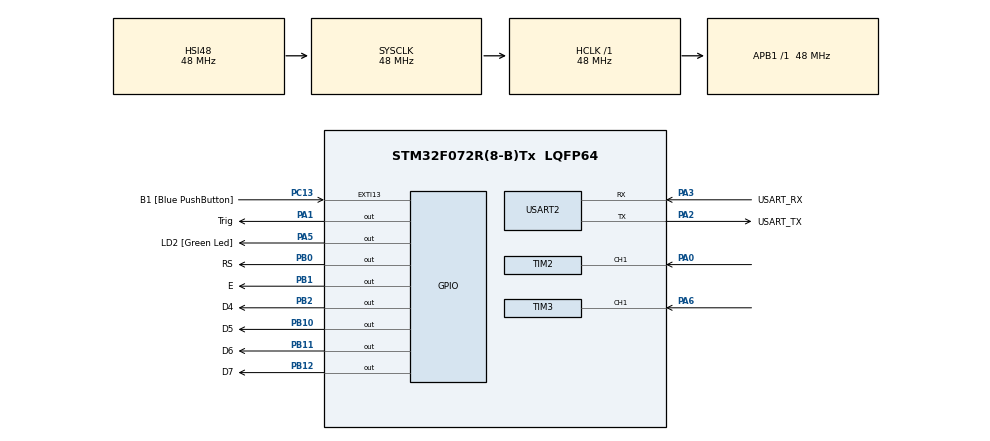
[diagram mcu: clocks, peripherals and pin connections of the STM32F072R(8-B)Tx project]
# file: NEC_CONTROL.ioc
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Mcu.Family=STM32F0
Mcu.Name=STM32F072R(8-B)Tx
Mcu.Package=LQFP64
NVIC.TIM2_IRQn=true\:0\:0\:true\:false\:true\:true\:true\:true
NVIC.TIM3_IRQn=true\:1\:0\:true\:false\:true\:true\:true\:true
NVIC.TIM6_DAC_IRQn=true\:2\:0\:true\:false\:true\:true\:false\:true
PA0.Signal=S_TIM2_CH1_ETR
PA1.GPIO_Label=Trig
PA1.Signal=GPIO_Output
PA13.GPIO_Label=TMS
PA13.Mode=Serial_Wire
PA13.Signal=SYS_SWDIO
PA14.GPIO_Label=TCK
PA14.Mode=Serial_Wire
PA14.Signal=SYS_SWCLK
PA2.GPIO_Label=USART_TX
PA2.GPIO_Mode=GPIO_MODE_AF_PP
PA2.GPIO_PuPd=GPIO_NOPULL
PA2.GPIO_Speed=GPIO_SPEED_FREQ_LOW
PA2.Mode=Asynchronous
PA2.Signal=USART2_TX
PA3.GPIO_Label=USART_RX
PA3.GPIO_Mode=GPIO_MODE_AF_PP
PA3.GPIO_PuPd=GPIO_NOPULL
PA3.GPIO_Speed=GPIO_SPEED_FREQ_LOW
PA3.Mode=Asynchronous
PA3.Signal=USART2_RX
PA5.GPIO_Label=LD2 [Green Led]
PA5.GPIO_Mode=GPIO_MODE_OUTPUT_PP
PA5.GPIO_PuPd=GPIO_NOPULL
PA5.GPIO_Speed=GPIO_SPEED_FREQ_LOW
PA5.Signal=GPIO_Output
PA6.Signal=S_TIM3_CH1
PB0.GPIO_Label=RS
PB0.Signal=GPIO_Output
PB1.GPIO_Label=E
PB1.Signal=GPIO_Output
PB10.GPIO_Label=D5
PB10.Signal=GPIO_Output
PB11.GPIO_Label=D6
PB11.Signal=GPIO_Output
PB12.GPIO_Label=D7
PB12.Signal=GPIO_Output
PB2.GPIO_Label=D4
PB2.Signal=GPIO_Output
PC13.GPIO_Label=B1 [Blue PushButton]
PC13.GPIO_ModeDefaultEXTI=GPIO_MODE_IT_FALLING
PC13.Signal=GPXTI13
PC14-OSC32_IN.Mode=LSE-External-Oscillator
PC14-OSC32_IN.Signal=RCC_OSC32_IN
PC15-OSC32_OUT.Mode=LSE-External-Oscillator
PC15-OSC32_OUT.Signal=RCC_OSC32_OUT
PF0-OSC_IN.Mode=HSE-External-Clock-Source
PF0-OSC_IN.Signal=RCC_OSC_IN
PF1-OSC_OUT.Signal=RCC_OSC_OUT
ProjectManager.HeapSize=0x200
ProjectManager.StackSize=0x400
ProjectManager.TargetToolchain=MDK-ARM V5.32
RCC.AHBFreq_Value=48000000
RCC.APB1Freq_Value=48000000
RCC.APB1TimFreq_Value=48000000
RCC.FLatency-AdvancedSettings=FLASH_LATENCY_1
RCC.HCLKFreq_Value=48000000
RCC.PLLDivider=RCC_PREDIV_DIV2
RCC.PLLMUL=RCC_PLL_MUL12
RCC.PREFETCH_ENABLE-AdvancedSettings=1
RCC.SYSCLKFreq_VALUE=48000000
RCC.SYSCLKSource=RCC_SYSCLKSOURCE_HSI48
SH.S_TIM2_CH1_ETR.0=TIM2_CH1,Input_Capture1_from_TI1
SH.S_TIM3_CH1.0=TIM3_CH1,Input_Capture1_from_TI1
TIM2.AutoReloadPreload=TIM_AUTORELOAD_PRELOAD_ENABLE
TIM2.Channel-Input_Capture1_from_TI1=TIM_CHANNEL_1
TIM2.ICFilter_CH1=4
TIM2.ICPolarity_CH1=TIM_INPUTCHANNELPOLARITY_FALLING
TIM2.Period=65535
TIM2.Prescaler=48-1
TIM3.AutoReloadPreload=TIM_AUTORELOAD_PRELOAD_ENABLE
TIM3.Channel-Input_Capture1_from_TI1=TIM_CHANNEL_1
TIM3.ICFilter_CH1=8
TIM3.ICPolarity_CH1=TIM_INPUTCHANNELPOLARITY_BOTHEDGE
TIM3.Prescaler=48-1
TIM6.AutoReloadPreload=TIM_AUTORELOAD_PRELOAD_ENABLE
TIM6.Prescaler=48-1
USART2.VirtualMode=VM_ASYNC
USART2.VirtualMode-Asynchronous=VM_ASYNC
VP_TIM2_VS_ClockSourceINT.Mode=Internal
VP_TIM3_VS_ClockSourceINT.Mode=Internal
VP_TIM6_VS_ClockSourceINT.Mode=Enable_Timer
board=NUCLEO-F072RB

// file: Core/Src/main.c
/* USER CODE BEGIN Header */
/**
  ******************************************************************************
  * @file           : main.c
  * @brief          : Main program body
  ******************************************************************************
  * @attention
  *
  * Copyright (c) 2026 STMicroelectronics.
  * All rights reserved.
  *
  * This software is licensed under terms that can be found in the LICENSE file
  * in the root directory of this software component.
  * If no LICENSE file comes with this software, it is provided AS-IS.
  *
  ******************************************************************************
  */
/* USER CODE END Header */
#include "main.h"

/* USER CODE BEGIN Includes */
#include <stdio.h>
#include <stdlib.h>
#include <string.h>
#include "lcm_control.h"
#include "timer_control.h"
/* USER CODE END Includes */

TIM_HandleTypeDef htim2;
TIM_HandleTypeDef htim3;
TIM_HandleTypeDef htim6;

UART_HandleTypeDef huart2;

/* USER CODE BEGIN PV */
typedef enum {
    IR_WAIT_LEADER = 0,
    IR_WAIT_DATA
} IR_State_t;

volatile uint32_t diff_time = 0;
volatile uint32_t last_capture = 0;
volatile uint32_t ir_data = 0;
volatile uint8_t  bit_count = 0;
volatile IR_State_t ir_state = IR_WAIT_LEADER;

volatile uint8_t  ir_ready = 0;
volatile uint32_t ir_code = 0;

volatile uint8_t    sr04_is_first_edge = 1;
volatile uint32_t   sr04_rise_time = 0;
volatile uint32_t   sr04_fall_time = 0;
volatile uint32_t   sr04_echo_duration = 0;
volatile uint8_t    sr04_distance_ready = 0;
float distance_cm = 0.0f;
/* USER CODE END PV */

void SystemClock_Config(void);
static void MX_GPIO_Init(void);
static void MX_TIM2_Init(void);
static void MX_USART2_UART_Init(void);
static void MX_TIM3_Init(void);
static void MX_TIM6_Init(void);
/* USER CODE BEGIN PFP */
char IR_To_Char(uint8_t cmd);
/* USER CODE END PFP */

int main(void)
{

  /* MCU Configuration--------------------------------------------------------*/

  /* Reset of all peripherals, Initializes the Flash interface and the Systick. */
  HAL_Init();

  /* Configure the system clock */
  SystemClock_Config();

  /* Initialize all configured peripherals */
  MX_GPIO_Init();
  MX_TIM2_Init();
  MX_USART2_UART_Init();
  MX_TIM3_Init();
  MX_TIM6_Init();
  /* USER CODE BEGIN 2 */
	LCM_Init();

	LCM_Set_Cursor(0, 0);
	LCM_Send_String("Dist: -");
	LCM_Set_Cursor(1, 0);
	LCM_Send_String("IR Key: -");

	HAL_TIM_IC_Start_IT(&htim2, TIM_CHANNEL_1);
	HAL_TIM_IC_Start_IT(&htim3, TIM_CHANNEL_1);
  /* USER CODE END 2 */

  /* Infinite loop */
  /* USER CODE BEGIN WHILE */
  while (1)
  {
		if (ir_ready)
    {
				ir_ready = 0;
        uint8_t address  = ir_code & 0xFF;
        uint8_t n_address = (ir_code >> 8) & 0xFF;
        uint8_t command  = (ir_code >> 16) & 0xFF;
        uint8_t n_command = (ir_code >> 24) & 0xFF;

        if (address == 0x00 && ((uint8_t)(address ^ n_address) == 0xFF))
        {
					char ch = IR_To_Char(command);
					//printf("Raw Cmd: 0x%02X\r\n Char: %c\r\n", command, ch);

          LCM_Set_Cursor(1, 8);
					switch(ch){
						case 'K':
							LCM_Send_String("OK   ");
							break;
						case 'U':
							LCM_Send_String("UP   ");
							break;
						case 'D':
							LCM_Send_String("DOWN ");
							break;
						case 'L':
							LCM_Send_String("LEFT ");
							break;
						case 'R':
							LCM_Send_String("RIGHT");
							break;
						default:
							LCM_Send_Data(ch);
							LCM_Send_String("    ");
							break;
					}
				}
    }
    /* USER CODE END WHILE */

    /* USER CODE BEGIN 3 */
		static uint32_t last_trigger_tick = 0;
		if (HAL_GetTick() - last_trigger_tick > 60)
		{
				last_trigger_tick = HAL_GetTick();

				HAL_GPIO_WritePin(GPIOA, GPIO_PIN_1, GPIO_PIN_SET);
				delay_us(10);
				HAL_GPIO_WritePin(GPIOA, GPIO_PIN_1, GPIO_PIN_RESET);
		}

		if (sr04_distance_ready)
		{
				sr04_distance_ready = 0;
				distance_cm = (float)sr04_echo_duration / 58.2f;
				//printf("Distance: %3.2f cm\r\n", distance_cm);
				char *result = (char *)malloc(9 * sizeof(char));
				if (result != NULL) {
					LCM_Set_Cursor(0, 6);
					snprintf(result, 9, "%3.2f cm", distance_cm);
					LCM_Send_String(result);
				}
		}
  }
  /* USER CODE END 3 */
}

void SystemClock_Config(void)
{
  RCC_OscInitTypeDef RCC_OscInitStruct = {0};
  RCC_ClkInitTypeDef RCC_ClkInitStruct = {0};
  RCC_PeriphCLKInitTypeDef PeriphClkInit = {0};

  /** Initializes the RCC Oscillators according to the specified parameters
  * in the RCC_OscInitTypeDef structure.
  */
  RCC_OscInitStruct.OscillatorType = RCC_OSCILLATORTYPE_HSI48;
  RCC_OscInitStruct.HSI48State = RCC_HSI48_ON;
  RCC_OscInitStruct.PLL.PLLState = RCC_PLL_NONE;
  if (HAL_RCC_OscConfig(&RCC_OscInitStruct) != HAL_OK)
  {
    Error_Handler();
  }

  /** Initializes the CPU, AHB and APB buses clocks
  */
  RCC_ClkInitStruct.ClockType = RCC_CLOCKTYPE_HCLK|RCC_CLOCKTYPE_SYSCLK
                              |RCC_CLOCKTYPE_PCLK1;
  RCC_ClkInitStruct.SYSCLKSource = RCC_SYSCLKSOURCE_HSI48;
  RCC_ClkInitStruct.AHBCLKDivider = RCC_SYSCLK_DIV1;
  RCC_ClkInitStruct.APB1CLKDivider = RCC_HCLK_DIV1;

  if (HAL_RCC_ClockConfig(&RCC_ClkInitStruct, FLASH_LATENCY_1) != HAL_OK)
  {
    Error_Handler();
  }
  PeriphClkInit.PeriphClockSelection = RCC_PERIPHCLK_USART2;
  PeriphClkInit.Usart2ClockSelection = RCC_USART2CLKSOURCE_PCLK1;
  if (HAL_RCCEx_PeriphCLKConfig(&PeriphClkInit) != HAL_OK)
  {
    Error_Handler();
  }
}

static void MX_TIM2_Init(void)
{

  TIM_ClockConfigTypeDef sClockSourceConfig = {0};
  TIM_MasterConfigTypeDef sMasterConfig = {0};
  TIM_IC_InitTypeDef sConfigIC = {0};

  htim2.Instance = TIM2;
  htim2.Init.Prescaler = 48-1;
  htim2.Init.CounterMode = TIM_COUNTERMODE_UP;
  htim2.Init.Period = 65535;
  htim2.Init.ClockDivision = TIM_CLOCKDIVISION_DIV1;
  htim2.Init.AutoReloadPreload = TIM_AUTORELOAD_PRELOAD_ENABLE;
  if (HAL_TIM_Base_Init(&htim2) != HAL_OK)
  {
    Error_Handler();
  }
  sClockSourceConfig.ClockSource = TIM_CLOCKSOURCE_INTERNAL;
  if (HAL_TIM_ConfigClockSource(&htim2, &sClockSourceConfig) != HAL_OK)
  {
    Error_Handler();
  }
  if (HAL_TIM_IC_Init(&htim2) != HAL_OK)
  {
    Error_Handler();
  }
  sMasterConfig.MasterOutputTrigger = TIM_TRGO_RESET;
  sMasterConfig.MasterSlaveMode = TIM_MASTERSLAVEMODE_DISABLE;
  if (HAL_TIMEx_MasterConfigSynchronization(&htim2, &sMasterConfig) != HAL_OK)
  {
    Error_Handler();
  }
  sConfigIC.ICPolarity = TIM_INPUTCHANNELPOLARITY_FALLING;
  sConfigIC.ICSelection = TIM_ICSELECTION_DIRECTTI;
  sConfigIC.ICPrescaler = TIM_ICPSC_DIV1;
  sConfigIC.ICFilter = 4;
  if (HAL_TIM_IC_ConfigChannel(&htim2, &sConfigIC, TIM_CHANNEL_1) != HAL_OK)
  {
    Error_Handler();
  }

}

static void MX_TIM3_Init(void)
{

  TIM_ClockConfigTypeDef sClockSourceConfig = {0};
  TIM_MasterConfigTypeDef sMasterConfig = {0};
  TIM_IC_InitTypeDef sConfigIC = {0};

  htim3.Instance = TIM3;
  htim3.Init.Prescaler = 48-1;
  htim3.Init.CounterMode = TIM_COUNTERMODE_UP;
  htim3.Init.Period = 65535;
  htim3.Init.ClockDivision = TIM_CLOCKDIVISION_DIV1;
  htim3.Init.AutoReloadPreload = TIM_AUTORELOAD_PRELOAD_ENABLE;
  if (HAL_TIM_Base_Init(&htim3) != HAL_OK)
  {
    Error_Handler();
  }
  sClockSourceConfig.ClockSource = TIM_CLOCKSOURCE_INTERNAL;
  if (HAL_TIM_ConfigClockSource(&htim3, &sClockSourceConfig) != HAL_OK)
  {
    Error_Handler();
  }
  if (HAL_TIM_IC_Init(&htim3) != HAL_OK)
  {
    Error_Handler();
  }
  sMasterConfig.MasterOutputTrigger = TIM_TRGO_RESET;
  sMasterConfig.MasterSlaveMode = TIM_MASTERSLAVEMODE_DISABLE;
  if (HAL_TIMEx_MasterConfigSynchronization(&htim3, &sMasterConfig) != HAL_OK)
  {
    Error_Handler();
  }
  sConfigIC.ICPolarity = TIM_INPUTCHANNELPOLARITY_BOTHEDGE;
  sConfigIC.ICSelection = TIM_ICSELECTION_DIRECTTI;
  sConfigIC.ICPrescaler = TIM_ICPSC_DIV1;
  sConfigIC.ICFilter = 8;
  if (HAL_TIM_IC_ConfigChannel(&htim3, &sConfigIC, TIM_CHANNEL_1) != HAL_OK)
  {
    Error_Handler();
  }

}

static void MX_TIM6_Init(void)
{

  TIM_MasterConfigTypeDef sMasterConfig = {0};

  htim6.Instance = TIM6;
  htim6.Init.Prescaler = 48-1;
  htim6.Init.CounterMode = TIM_COUNTERMODE_UP;
  htim6.Init.Period = 65535;
  htim6.Init.AutoReloadPreload = TIM_AUTORELOAD_PRELOAD_ENABLE;
  if (HAL_TIM_Base_Init(&htim6) != HAL_OK)
  {
    Error_Handler();
  }
  sMasterConfig.MasterOutputTrigger = TIM_TRGO_RESET;
  sMasterConfig.MasterSlaveMode = TIM_MASTERSLAVEMODE_DISABLE;
  if (HAL_TIMEx_MasterConfigSynchronization(&htim6, &sMasterConfig) != HAL_OK)
  {
    Error_Handler();
  }
  /* USER CODE BEGIN TIM6_Init 2 */
	TIM6->CR1 |= 0x1ul;
	TIM6->DIER |= 0x1ul;
  /* USER CODE END TIM6_Init 2 */

}

static void MX_USART2_UART_Init(void)
{

  huart2.Instance = USART2;
  huart2.Init.BaudRate = 38400;
  huart2.Init.WordLength = UART_WORDLENGTH_8B;
  huart2.Init.StopBits = UART_STOPBITS_1;
  huart2.Init.Parity = UART_PARITY_NONE;
  huart2.Init.Mode = UART_MODE_TX_RX;
  huart2.Init.HwFlowCtl = UART_HWCONTROL_NONE;
  huart2.Init.OverSampling = UART_OVERSAMPLING_16;
  huart2.Init.OneBitSampling = UART_ONE_BIT_SAMPLE_DISABLE;
  huart2.AdvancedInit.AdvFeatureInit = UART_ADVFEATURE_NO_INIT;
  if (HAL_UART_Init(&huart2) != HAL_OK)
  {
    Error_Handler();
  }

}

static void MX_GPIO_Init(void)
{
  GPIO_InitTypeDef GPIO_InitStruct = {0};

  /* GPIO Ports Clock Enable */
  __HAL_RCC_GPIOC_CLK_ENABLE();
  __HAL_RCC_GPIOF_CLK_ENABLE();
  __HAL_RCC_GPIOA_CLK_ENABLE();
  __HAL_RCC_GPIOB_CLK_ENABLE();

  /*Configure GPIO pin Output Level */
  HAL_GPIO_WritePin(GPIOA, Trig_Pin|LD2_Pin, GPIO_PIN_RESET);

  /*Configure GPIO pin Output Level */
  HAL_GPIO_WritePin(GPIOB, RS_Pin|E_Pin|D4_Pin|D5_Pin
                          |D6_Pin|D7_Pin, GPIO_PIN_RESET);

  /*Configure GPIO pin : B1_Pin */
  GPIO_InitStruct.Pin = B1_Pin;
  GPIO_InitStruct.Mode = GPIO_MODE_IT_FALLING;
  GPIO_InitStruct.Pull = GPIO_NOPULL;
  HAL_GPIO_Init(B1_GPIO_Port, &GPIO_InitStruct);

  /*Configure GPIO pins : Trig_Pin LD2_Pin */
  GPIO_InitStruct.Pin = Trig_Pin|LD2_Pin;
  GPIO_InitStruct.Mode = GPIO_MODE_OUTPUT_PP;
  GPIO_InitStruct.Pull = GPIO_NOPULL;
  GPIO_InitStruct.Speed = GPIO_SPEED_FREQ_LOW;
  HAL_GPIO_Init(GPIOA, &GPIO_InitStruct);

  /*Configure GPIO pins : RS_Pin E_Pin D4_Pin D5_Pin
                           D6_Pin D7_Pin */
  GPIO_InitStruct.Pin = RS_Pin|E_Pin|D4_Pin|D5_Pin
                          |D6_Pin|D7_Pin;
  GPIO_InitStruct.Mode = GPIO_MODE_OUTPUT_PP;
  GPIO_InitStruct.Pull = GPIO_NOPULL;
  GPIO_InitStruct.Speed = GPIO_SPEED_FREQ_LOW;
  HAL_GPIO_Init(GPIOB, &GPIO_InitStruct);

}

/* USER CODE BEGIN 4 */
void HAL_TIM_IC_CaptureCallback(TIM_HandleTypeDef *htim)
{
    if (htim->Instance == TIM2)
    {
        uint32_t current_capture = HAL_TIM_ReadCapturedValue(htim, TIM_CHANNEL_1);

        if (current_capture >= last_capture) {
            diff_time = current_capture - last_capture;
        } else {
            diff_time = (htim->Instance->ARR - last_capture) + current_capture + 1;
        }
        last_capture = current_capture;

        switch (ir_state)
        {
            case IR_WAIT_LEADER:
                if (diff_time >= 13000 && diff_time <= 14000) {
                    ir_state = IR_WAIT_DATA;
                    bit_count = 0;
                    ir_data = 0;
                }
                break;

            case IR_WAIT_DATA:
                if (diff_time >= 900 && diff_time <= 1300) { //0
                    ir_data >>= 1;
                    bit_count++;
                }
                else if (diff_time >= 2000 && diff_time <= 2500) { //1
                    ir_data >>= 1;
                    ir_data |= 0x80000000;
                    bit_count++;
                }
                else {
                    ir_state = IR_WAIT_LEADER;
                    break;
                }

                if (bit_count >= 32) {
                    uint8_t cmd  = (ir_data >> 16) & 0xFF;
                    uint8_t ncmd = (ir_data >> 24) & 0xFF;
                    if ((uint8_t)(cmd ^ ncmd) == 0xFF) {
                        ir_code = ir_data;
                        ir_ready = 1;
                    }
                    ir_state = IR_WAIT_LEADER;
                }
                break;
        }
    }else if (htim->Instance == TIM3) {
        if (sr04_is_first_edge)
        {
            sr04_rise_time = HAL_TIM_ReadCapturedValue(htim, TIM_CHANNEL_1);
            sr04_is_first_edge = 0;
        }
        else
        {
            sr04_fall_time = HAL_TIM_ReadCapturedValue(htim, TIM_CHANNEL_1);

            if (sr04_fall_time >= sr04_rise_time) {
                sr04_echo_duration = sr04_fall_time - sr04_rise_time;
            } else {
                sr04_echo_duration = (htim->Instance->ARR - sr04_rise_time) + sr04_fall_time + 1;
            }

            sr04_is_first_edge = 1;
            sr04_distance_ready = 1;
        }
    }
}

char IR_To_Char(uint8_t cmd) {
    switch(cmd) {
        case 0x45: return '1'; case 0x46: return '2'; case 0x47: return '3';
        case 0x44: return '4'; case 0x40: return '5'; case 0x43: return '6';
        case 0x07: return '7'; case 0x15: return '8'; case 0x09: return '9';
        case 0x16: return '*'; case 0x19: return '0'; case 0x0D: return '#';
        case 0x18: return 'U'; case 0x08: return 'L'; case 0x1C: return 'K';
        case 0x5A: return 'R'; case 0x52: return 'D';
        default:   return '?';
    }
}
/* USER CODE END 4 */

void Error_Handler(void)
{
  __disable_irq();
  while (1)
  {
  }
}
